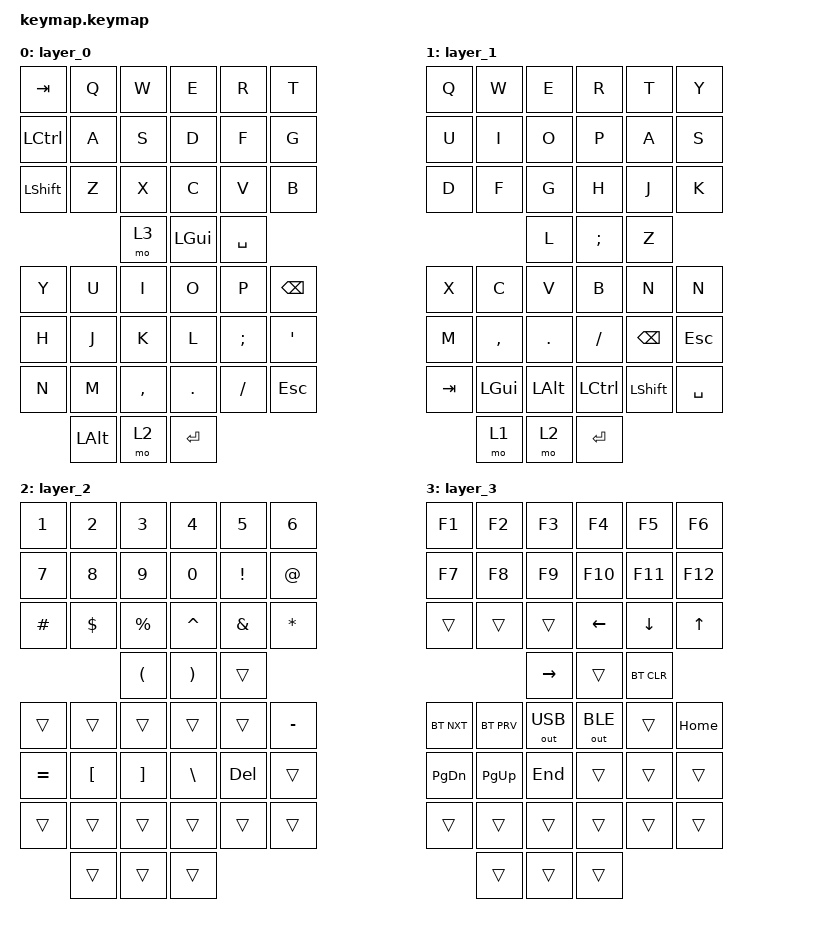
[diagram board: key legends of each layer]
#include <behaviors.dtsi>
#include <dt-bindings/zmk/bt.h>
#include <dt-bindings/zmk/keys.h>
#include <dt-bindings/zmk/outputs.h>
#include <dt-bindings/zmk/pointing.h>

/ {
    combos {
        compatible = "zmk,combos";

        bt_clear {
            bindings = <&bt BT_CLR>;
            key-positions = <28 29>;
            layers = <3>;
        };
    };

    keymap {
        compatible = "zmk,keymap";

        layer_0 {
            bindings = <
    &kp TAB    &kp Q      &kp W     &kp E     &kp R         &kp T
    &kp LCTRL  &kp A      &kp S     &kp D     &kp F         &kp G
    &kp LSHFT  &kp Z      &kp X     &kp C     &kp V         &kp B
                          &mo 3     &kp LGUI  &kp SPACE

    &kp Y      &kp U      &kp I     &kp O     &kp P         &kp BSPC
    &kp H      &kp J      &kp K     &kp L     &kp SEMI      &kp SQT
    &kp N      &kp M      &kp COMMA &kp DOT   &kp FSLH      &kp ESC
               &kp LALT   &mo 2     &kp RET
            >;
        };

        layer_1 {
            bindings = <
    &kp Q      &kp W      &kp E     &kp R     &kp T         &kp Y      &kp U      &kp I     &kp O     &kp P
    &kp A      &kp S      &kp D     &kp F     &kp G         &kp H      &kp J      &kp K     &kp L     &kp SEMI
    &kp Z      &kp X      &kp C     &kp V     &kp B     &kp N  &kp N      &kp M      &kp COMMA &kp DOT   &kp FSLH  &kp BSPC
    &kp ESC    &kp TAB    &kp LGUI  &kp LALT  &kp LCTRL &kp LSHFT  &kp SPACE  &mo 1                &mo 2     &kp RET
            >;
        };

        layer_2 {
            bindings = <
    &kp N1     &kp N2     &kp N3    &kp N4    &kp N5        &kp N6     &kp N7     &kp N8    &kp N9    &kp N0
    &kp EXCL   &kp AT     &kp HASH  &kp DLLR  &kp PRCNT     &kp CARET  &kp AMPS   &kp STAR  &kp LPAR  &kp RPAR
    &trans     &trans     &trans    &trans    &trans    &trans &kp MINUS  &kp EQUAL  &kp LBKT  &kp RBKT  &kp BSLH  &kp DEL
    &trans     &trans     &trans    &trans    &trans    &trans &trans     &trans                &trans    &trans
            >;
        };

        layer_3 {
            bindings = <
    &kp F1     &kp F2     &kp F3    &kp F4    &kp F5        &kp F6     &kp F7     &kp F8    &kp F9    &kp F10
    &kp F11    &kp F12    &trans    &trans    &trans        &kp LEFT   &kp DOWN   &kp UP    &kp RIGHT &trans
    &bt BT_CLR &bt BT_NXT &bt BT_PRV &out OUT_USB &out OUT_BLE &trans &kp HOME   &kp PG_DN  &kp PG_UP &kp END   &trans    &trans
    &trans     &trans     &trans    &trans    &trans    &trans &trans     &trans                &trans    &trans
            >;
        };
    };
};
